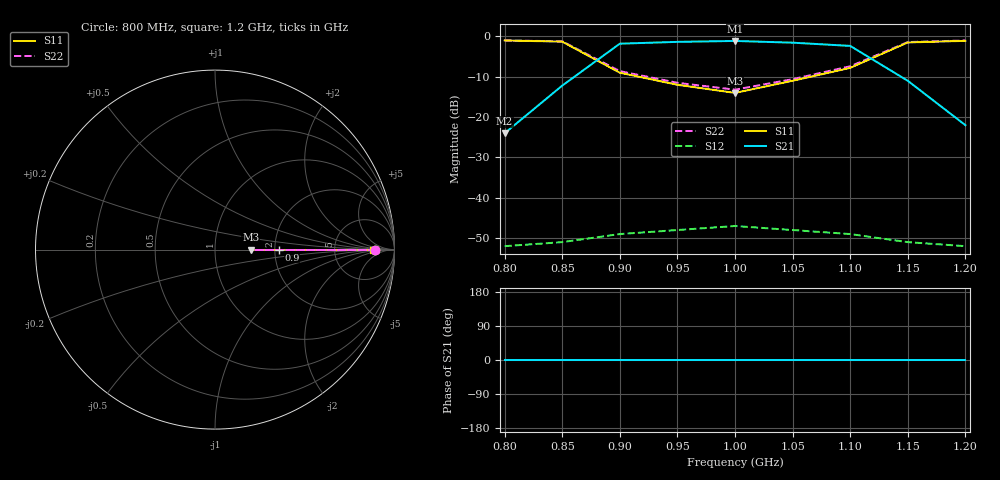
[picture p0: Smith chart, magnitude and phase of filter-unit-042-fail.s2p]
! Synthetic failing unit
# MHz S DB R 50
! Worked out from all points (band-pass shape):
!   9 points, 800 MHz to 1.2 GHz, reference 50 ohm
!   highest |S21| = -1.12 dB at 1 GHz (marker M1); lowest = -24.0 dB at 800 MHz (marker M2)
!   |S21| within 3 dB of the highest: 888.8 MHz to 1.11 GHz (221.4 MHz wide, 22.1 % of centre)
!   lowest |S11| = -14.0 dB at 1 GHz (marker M3), VSWR 1.50, Z = 74.9 + j0 ohm
!   |S11| at or under -10 dB: 916.7 MHz to 1.066 GHz (149 MHz wide, 15 % of centre)
!   |S22| runs from -13.2 to -1.0 dB; largest |S21 - S12| = 0.87
!   S11 on the Smith chart (normalised r, x): 800 MHz: 17, +0; 900 MHz: 2.10, +0.00; 1.2 GHz: 16, +0
800  -1.00 0.0  -24.00 0.0  -52.00 0.0  -1.00 0.0
850  -1.30 0.0  -12.20 0.0  -51.00 0.0  -1.20 0.0
900  -9.00 0.0  -1.80 0.0  -49.00 0.0  -8.60 0.0
950  -12.00 0.0  -1.35 0.0  -48.00 0.0  -11.50 0.0
1000  -14.00 0.0  -1.12 0.0  -47.00 0.0  -13.20 0.0
1050  -11.00 0.0  -1.55 0.0  -48.00 0.0  -10.60 0.0
1100  -7.80 0.0  -2.35 0.0  -49.00 0.0  -7.40 0.0
1150  -1.50 0.0  -11.00 0.0  -51.00 0.0  -1.40 0.0
1200  -1.10 0.0  -22.00 0.0  -52.00 0.0  -1.00 0.0
